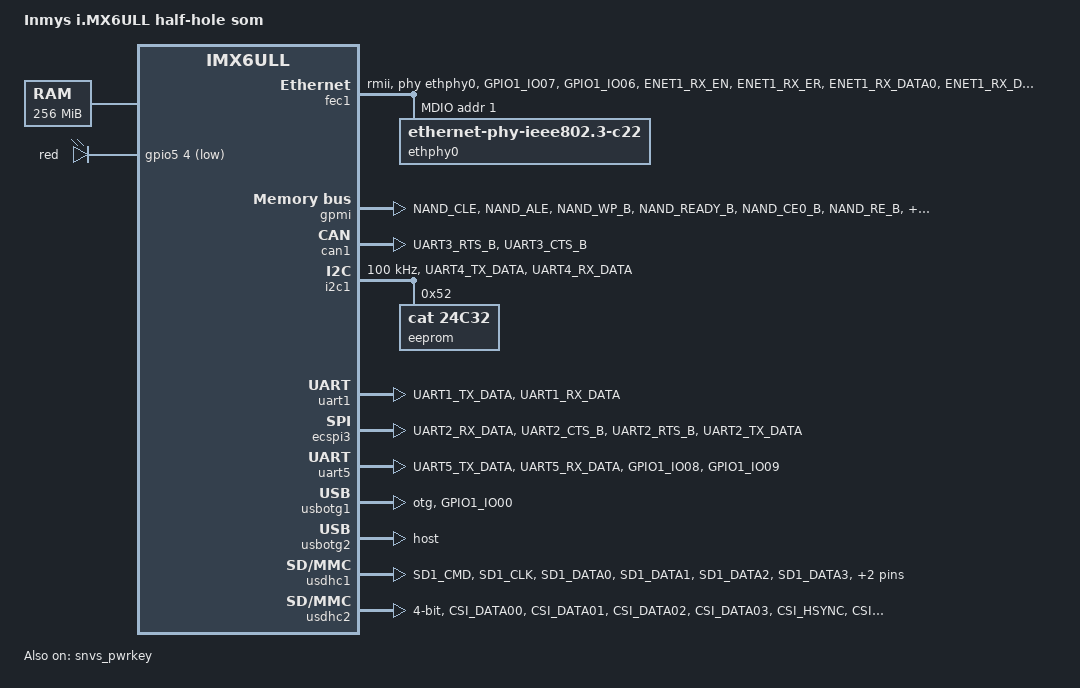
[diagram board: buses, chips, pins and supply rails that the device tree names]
// SPDX-License-Identifier: GPL-2.0
//
// Copyright (C) 2025 Inmys

#include "imx6ull.dtsi"

/ {
	model = "Inmys i.MX6ULL half-hole som";
	compatible = "inmys,imx6ull-hh-som", "fsl,imx6ull";
};

/ {
	chosen {
		stdout-path = &uart1;
	};

	memory@80000000 {
		device_type = "memory";
		reg = <0x80000000 0x10000000>;
	};
	leds {
		compatible    = "gpio-leds";
		status        = "okay";
		pinctrl-names = "default";
		pinctrl-0     = <&pinctrl_somled>;
		led-red {
			label = "red";
			gpios = <&gpio5 4 GPIO_ACTIVE_LOW>;
			linux,default-trigger = "heartbeat";
		};
	};
};

/* to LAN8720AI on SOM */
&fec1 {
	pinctrl-names = "default";
	pinctrl-0 = <&pinctrl_enet1>;
	phy-mode = "rmii";
	phy-handle = <&ethphy0>;
	status = "okay";
	/* ENET1_REFCLK_50MHZ_FROM_PHY_TO_CPU */
	/* fec1 <- enet1_ref_sel <- enet1_ref_pad, bits 13,17 in GPR1 */
	clocks = <&clks IMX6UL_CLK_ENET>,
		<&clks IMX6UL_CLK_ENET_AHB>,
		<&clks IMX6UL_CLK_ENET_PTP>,
		<&clks IMX6UL_CLK_ENET1_REF_SEL>;
	clock-names = "ipg", "ahb", "ptp", "enet_clk_ref";
	assigned-clocks       = <&clks IMX6UL_CLK_ENET1_REF_SEL>;
	assigned-clock-parents = <&clks IMX6UL_CLK_ENET1_REF_PAD>;
	mdio {
		#address-cells = <1>;
		#size-cells = <0>;
		ethphy0: ethernet-phy@1 { // LAN8720AI
			compatible = "ethernet-phy-ieee802.3-c22";
			reg = <1>;
		};
	};
};

&gpmi {
	pinctrl-names = "default";
	pinctrl-0 = <&pinctrl_gpmi_nand>;
	nand-on-flash-bbt;
	nand-ecc-strength = <8>;
	nand-ecc-step-size = <512>;
	status = "okay";
	partitions {
		compatible = "fixed-partitions";
		#address-cells = <1>;
		#size-cells = <1>;

		partition@0 {
			label = "nandboot";
			reg = <0x0 0x3c00000>;
		};
		partition@3c00000 {
			label = "uboot-environment";
			reg = <0x3c00000 0x20000>;
		};
		partition@4000000 {
			label = "nandkernel";
			reg = <0x4000000 0x1000000>;
		};
		partition@5000000 {
			label = "nanddtb";
			reg = <0x5000000 0x1000000>;
		};
		partition@6000000 {
			label = "nandtee";
			reg = <0x6000000 0x1000000>;
		};
		partition@7000000 {
			label = "nandrootfs";
			reg = <0x7000000 0x0>;
		};
	};
};

&can1 {
	pinctrl-names = "default";
	pinctrl-0 = <&pinctrl_flexcan1>;
	// xceiver-supply = <&reg_can_3v3>;
	status = "okay";
};

&i2c1 {
	clock-frequency = <100000>;
	pinctrl-names = "default";
	pinctrl-0 = <&pinctrl_i2c1>;
	status = "okay";

	eeprom: eeprom@52 {
		compatible = "cat,24c32";
		reg = <0x52>;
	};
};

&snvs_poweroff {
	status = "okay";
};

&snvs_pwrkey {
	status = "okay";
};

&uart1 {
	pinctrl-names = "default";
	pinctrl-0 = <&pinctrl_uart1>;
	status = "okay";
};

&ecspi3 {
	cs-gpios = <&gpio1 20 GPIO_ACTIVE_LOW>;
	pinctrl-names = "default";
	pinctrl-0 = <&pinctrl_ecspi3_master>;
	status = "okay";
};

&uart5 {
	pinctrl-names = "default";
	pinctrl-0 = <&pinctrl_uart5>;
	fsl,dte-mode;
	status = "okay";
};

&usbotg1 {
	dr_mode = "otg";
	pinctrl-names = "default";
	pinctrl-0 = <&pinctrl_usb_otg1>;
	disable-over-current;
	status = "okay";
};

&usbotg2 {
	dr_mode = "host";
	disable-over-current;
	status = "okay";
};

&usbphy1 {
	fsl,tx-d-cal = <106>;
};

&usbphy2 {
	fsl,tx-d-cal = <106>;
};

/* sdcard */
&usdhc1 {
	pinctrl-names = "default", "state_100mhz", "state_200mhz";
	pinctrl-0 = <&pinctrl_usdhc1>;
	pinctrl-1 = <&pinctrl_usdhc1_100mhz>;
	pinctrl-2 = <&pinctrl_usdhc1_200mhz>;
	cd-gpios = <&gpio1 19 GPIO_ACTIVE_LOW>;
	keep-power-in-suspend;
	wakeup-source;
	status = "okay";
};

/* wifi sdio */
&usdhc2 {
	pinctrl-names = "default";
	pinctrl-0 = <&pinctrl_usdhc2>;
	keep-power-in-suspend;
	wakeup-source;
	bus-width = <4>;
	status = "okay";
};

&iomuxc {
	pinctrl-names = "default";

	pinctrl_somled: somledgrp {
		fsl,pins = <
			MX6ULL_PAD_SNVS_TAMPER4__GPIO5_IO04    0x79
		>;
	};

	pinctrl_enet1: enet1grp {
		fsl,pins = <
			MX6UL_PAD_GPIO1_IO07__ENET1_MDC		0x10010
			MX6UL_PAD_GPIO1_IO06__ENET1_MDIO	0x10010
			MX6UL_PAD_ENET1_RX_EN__ENET1_RX_EN	0x1b0b0
			MX6UL_PAD_ENET1_RX_ER__ENET1_RX_ER	0x1b0b0
			MX6UL_PAD_ENET1_RX_DATA0__ENET1_RDATA00	0x1b0b0
			MX6UL_PAD_ENET1_RX_DATA1__ENET1_RDATA01	0x1b0b0
			MX6UL_PAD_ENET1_TX_EN__ENET1_TX_EN	0x1b010
			MX6UL_PAD_ENET1_TX_DATA0__ENET1_TDATA00	0x1b010
			MX6UL_PAD_ENET1_TX_DATA1__ENET1_TDATA01	0x1b010
			MX6UL_PAD_ENET1_TX_CLK__ENET1_REF_CLK1	0x4001b010
			/*MX6UL_PAD_ENET1_TX_CLK__ENET1_REF_CLK1	0x4001b031*/
		>;
	};
	pinctrl_gpmi_nand: gpminandgrp {
		fsl,pins = <	
			MX6UL_PAD_NAND_CLE__RAWNAND_CLE		0x0b0b1
			MX6UL_PAD_NAND_ALE__RAWNAND_ALE		0x0b0b1
			MX6UL_PAD_NAND_WP_B__RAWNAND_WP_B	0x0b0b1
			MX6UL_PAD_NAND_READY_B__RAWNAND_READY_B	0x0b000
			MX6UL_PAD_NAND_CE0_B__RAWNAND_CE0_B	0x0b0b1
			MX6UL_PAD_NAND_RE_B__RAWNAND_RE_B	0x0b0b1
			MX6UL_PAD_NAND_WE_B__RAWNAND_WE_B	0x0b0b1
			MX6UL_PAD_NAND_DATA00__RAWNAND_DATA00	0x0b0b1
			MX6UL_PAD_NAND_DATA01__RAWNAND_DATA01	0x0b0b1
			MX6UL_PAD_NAND_DATA02__RAWNAND_DATA02	0x0b0b1
			MX6UL_PAD_NAND_DATA03__RAWNAND_DATA03	0x0b0b1
			MX6UL_PAD_NAND_DATA04__RAWNAND_DATA04	0x0b0b1
			MX6UL_PAD_NAND_DATA05__RAWNAND_DATA05	0x0b0b1
			MX6UL_PAD_NAND_DATA06__RAWNAND_DATA06	0x0b0b1
			MX6UL_PAD_NAND_DATA07__RAWNAND_DATA07	0x0b0b1
		>;
	};

	pinctrl_flexcan1: flexcan1grp {
		fsl,pins = <
			MX6UL_PAD_UART3_RTS_B__FLEXCAN1_RX	0x1b020
			MX6UL_PAD_UART3_CTS_B__FLEXCAN1_TX	0x1b020
		>;
	};

	pinctrl_i2c1: i2c1grp {
		fsl,pins = <
			MX6UL_PAD_UART4_TX_DATA__I2C1_SCL 0x4001b8b0
			MX6UL_PAD_UART4_RX_DATA__I2C1_SDA 0x4001b8b0
		>;
	};

	pinctrl_uart1: uart1grp {
		fsl,pins = <
			MX6UL_PAD_UART1_TX_DATA__UART1_DCE_TX 0x1b0b1
			MX6UL_PAD_UART1_RX_DATA__UART1_DCE_RX 0x1b0b1
		>;
	};
	pinctrl_ecspi3_master: ecspi3-1-grp {
		fsl,pins = <
			MX6UL_PAD_UART2_RX_DATA__ECSPI3_SCLK    0x10b0
			MX6UL_PAD_UART2_CTS_B__ECSPI3_MOSI      0x10b0
			MX6UL_PAD_UART2_RTS_B__ECSPI3_MISO      0x10b0
			MX6UL_PAD_UART2_TX_DATA__GPIO1_IO20     0x10b0 /* Chip Select */
		>;
	};

	pinctrl_uart5: uart5grp {
		fsl,pins = <
			MX6UL_PAD_UART5_TX_DATA__UART5_DCE_TX   0x1b0b1
			MX6UL_PAD_UART5_RX_DATA__UART5_DCE_RX   0x1b0b1
			MX6UL_PAD_GPIO1_IO08__UART5_DCE_RTS     0x1b0b1
			MX6UL_PAD_GPIO1_IO09__UART5_DCE_CTS     0x1b0b1
		>;
	};

	pinctrl_usb_otg1: usbotg1grp {
		fsl,pins = <
			MX6UL_PAD_GPIO1_IO00__ANATOP_OTG1_ID	0x17059
		>;
	};

	pinctrl_usdhc1: usdhc1grp {
		fsl,pins = <
			MX6UL_PAD_SD1_CMD__USDHC1_CMD     	0x17059
			MX6UL_PAD_SD1_CLK__USDHC1_CLK		0x10071
			MX6UL_PAD_SD1_DATA0__USDHC1_DATA0 	0x17059
			MX6UL_PAD_SD1_DATA1__USDHC1_DATA1 	0x17059
			MX6UL_PAD_SD1_DATA2__USDHC1_DATA2 	0x17059
			MX6UL_PAD_SD1_DATA3__USDHC1_DATA3 	0x17059
			MX6UL_PAD_UART1_RTS_B__GPIO1_IO19       0x17059 /* SD1 CD */
		>;
	};

	pinctrl_usdhc1_100mhz: usdhc1-100mhz-grp {
		fsl,pins = <
			MX6UL_PAD_SD1_CMD__USDHC1_CMD     0x170b9
			MX6UL_PAD_SD1_CLK__USDHC1_CLK     0x100b9
			MX6UL_PAD_SD1_DATA0__USDHC1_DATA0 0x170b9
			MX6UL_PAD_SD1_DATA1__USDHC1_DATA1 0x170b9
			MX6UL_PAD_SD1_DATA2__USDHC1_DATA2 0x170b9
			MX6UL_PAD_SD1_DATA3__USDHC1_DATA3 0x170b9

		>;
	};

	pinctrl_usdhc1_200mhz: usdhc1-200mhz-grp {
		fsl,pins = <
			MX6UL_PAD_SD1_CMD__USDHC1_CMD     0x170f9
			MX6UL_PAD_SD1_CLK__USDHC1_CLK     0x100f9
			MX6UL_PAD_SD1_DATA0__USDHC1_DATA0 0x170f9
			MX6UL_PAD_SD1_DATA1__USDHC1_DATA1 0x170f9
			MX6UL_PAD_SD1_DATA2__USDHC1_DATA2 0x170f9
			MX6UL_PAD_SD1_DATA3__USDHC1_DATA3 0x170f9
		>;
	};

	pinctrl_usdhc2: usdhc2grp {
		fsl,pins = <
			MX6UL_PAD_CSI_DATA00__USDHC2_DATA0 0x17059
			MX6UL_PAD_CSI_DATA01__USDHC2_DATA1 0x17059
			MX6UL_PAD_CSI_DATA02__USDHC2_DATA2 0x17059
			MX6UL_PAD_CSI_DATA03__USDHC2_DATA3 0x17059
			MX6UL_PAD_CSI_HSYNC__USDHC2_CMD    0x17059
			MX6UL_PAD_CSI_VSYNC__USDHC2_CLK    0x10059
		>;
	};
};
